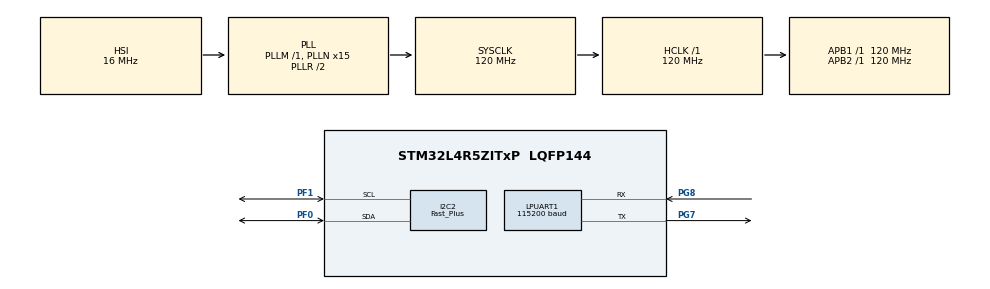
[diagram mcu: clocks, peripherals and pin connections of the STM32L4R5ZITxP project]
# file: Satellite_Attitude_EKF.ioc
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FREERTOS.Tasks01=defaultTask,24,1024,StartDefaultTask,Default,NULL,Dynamic,NULL,NULL
FREERTOS.configTOTAL_HEAP_SIZE=65536
I2C2.I2C_Speed_Mode=I2C_Fast_Plus
I2C2.Timing=0x10820B1B
LPUART1.BaudRate=115200
LPUART1.WordLength=UART_WORDLENGTH_8B
Mcu.Family=STM32L4
Mcu.Name=STM32L4R5ZITxP
Mcu.Package=LQFP144
NVIC.PriorityGroup=NVIC_PRIORITYGROUP_4
NVIC.TIM6_DAC_IRQn=true\:15\:0\:false\:false\:true\:false\:false\:true\:true
NVIC.TimeBase=TIM6_DAC_IRQn
NVIC.TimeBaseIP=TIM6
PA0.Signal=S_TIM2_CH1
PA1.Signal=ADCx_IN6
PA10.Signal=USB_OTG_FS_ID
PA13\ (JTMS/SWDIO).Mode=Serial_Wire
PA13\ (JTMS/SWDIO).Signal=SYS_JTMS-SWDIO
PA14\ (JTCK/SWCLK).Mode=Serial_Wire
PA14\ (JTCK/SWCLK).Signal=SYS_JTCK-SWCLK
PA3.Signal=ADCx_IN8
PA4.Signal=SPI1_NSS
PA5.Signal=SPI1_SCK
PA6.Signal=SPI1_MISO
PA7.Signal=SPI1_MOSI
PA8.Signal=USB_OTG_FS_SOF
PA9.Signal=USB_OTG_FS_VBUS
PB0.Signal=S_TIM3_CH3
PB1.Signal=ADCx_IN16
PB10.Signal=S_TIM2_CH3
PB12.Signal=SAI2_FS_A
PB13.Signal=SAI2_SCK_A
PB14.Signal=S_TIM15_CH1
PB15.Signal=SAI2_SD_A
PB2.Signal=COMP1_INP
PB3\ (JTDO/TRACESWO).Signal=SYS_JTDO-SWO
PB4\ (NJTRST).Signal=SPI3_MISO
PB5.Signal=SPI3_MOSI
PB6.Signal=COMP2_INP
PB8.Signal=I2C1_SCL
PB9.Signal=I2C1_SDA
PC0.Signal=ADCx_IN1
PC1.Signal=ADCx_IN2
PC10.Signal=SDMMC1_D2
PC11.Signal=SDMMC1_D3
PC12.Signal=SDMMC1_CK
PC13.Signal=SYS_WKUP2
PC14-OSC32_IN\ (PC14).Signal=RCC_OSC32_IN
PC15-OSC32_OUT\ (PC15).Signal=RCC_OSC32_OUT
PC2.Signal=ADCx_IN3
PC3.Signal=ADCx_IN4
PC4.Signal=ADCx_IN13
PC5.Signal=ADCx_IN14
PC6.Signal=SAI2_MCLK_A
PC7.Signal=S_TIM3_CH2
PC8.Signal=SDMMC1_D0
PC9.Signal=SDMMC1_D1
PD0.Signal=CAN1_RX
PD14.Signal=S_TIM4_CH3
PD15.Signal=S_TIM4_CH4
PD2.Signal=SDMMC1_CMD
PD3.Signal=USART2_CTS
PD4.Signal=USART2_RTS
PD5.Signal=USART2_TX
PD6.Signal=USART2_RX
PD8.Signal=USART3_TX
PD9.Signal=USART3_RX
PE0.Signal=S_TIM4_ETR
PE10.Signal=TIM1_CH2N
PE11.Signal=S_TIM1_CH2
PE12.Signal=TIM1_CH3N
PE13.Signal=S_TIM1_CH3
PE14.Signal=TIM1_BKIN2
PE15.Signal=TIM1_BKIN
PE2.Signal=SAI1_MCLK_A
PE3.Signal=SAI1_SD_B
PE7.Signal=S_TIM1_ETR
PE8.Signal=TIM1_CH1N
PE9.Signal=S_TIM1_CH1
PF0.Mode=I2C
PF0.Signal=I2C2_SDA
PF1.Mode=I2C
PF1.Signal=I2C2_SCL
PF2.Signal=I2C2_SMBA
PF7.Signal=SAI1_MCLK_B
PG7.Mode=Asynchronous
PG7.Signal=LPUART1_TX
PG8.Mode=Asynchronous
PG8.Signal=LPUART1_RX
PH0-OSC_IN\ (PH0).Mode=HSE-External-Clock-Source
PH0-OSC_IN\ (PH0).Signal=RCC_OSC_IN
PH1-OSC_OUT\ (PH1).Signal=RCC_OSC_OUT
ProjectManager.HeapSize=0x200
ProjectManager.StackSize=0x400
ProjectManager.TargetToolchain=STM32CubeIDE
RCC.ADCFreq_Value=64000000
RCC.AHBFreq_Value=120000000
RCC.APB1Freq_Value=120000000
RCC.APB1TimFreq_Value=120000000
RCC.APB2Freq_Value=120000000
RCC.APB2TimFreq_Value=120000000
RCC.CortexFreq_Value=120000000
RCC.HCLKFreq_Value=120000000
RCC.HSE_VALUE=8000000
RCC.HSI48_VALUE=48000000
RCC.HSI_VALUE=16000000
RCC.LSE_VALUE=32768
RCC.MSI_VALUE=4000000
RCC.PLLN=15
RCC.PLLSourceVirtual=RCC_PLLSOURCE_HSI
RCC.SYSCLKFreq_VALUE=120000000
RCC.SYSCLKSource=RCC_SYSCLKSOURCE_PLLCLK
RCC.USBFreq_Value=64000000
RCC.VCOOutputFreq_Value=240000000
SH.ADCx_IN1.0=ADC1_IN1
SH.ADCx_IN13.0=ADC1_IN13
SH.ADCx_IN14.0=ADC1_IN14
SH.ADCx_IN16.0=ADC1_IN16
SH.ADCx_IN2.0=ADC1_IN2
SH.ADCx_IN3.0=ADC1_IN3
SH.ADCx_IN4.0=ADC1_IN4
SH.ADCx_IN6.0=ADC1_IN6
SH.ADCx_IN8.0=ADC1_IN8
SH.S_TIM15_CH1.0=TIM15_CH1
SH.S_TIM1_CH1.0=TIM1_CH1
SH.S_TIM1_CH2.0=TIM1_CH2
SH.S_TIM1_CH3.0=TIM1_CH3
SH.S_TIM1_ETR.0=TIM1_ETR
SH.S_TIM2_CH1.0=TIM2_CH1
SH.S_TIM2_CH3.0=TIM2_CH3
SH.S_TIM3_CH2.0=TIM3_CH2
SH.S_TIM3_CH3.0=TIM3_CH3
SH.S_TIM4_CH3.0=TIM4_CH3
SH.S_TIM4_CH4.0=TIM4_CH4
SH.S_TIM4_ETR.0=TIM4_ETR
VP_FREERTOS_VS_CMSIS_V2.Mode=CMSIS_V2
VP_SYS_VS_tim6.Mode=TIM6
board=NUCLEO-L4R5ZI-P

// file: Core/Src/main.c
/* USER CODE BEGIN Header */
/**
  ******************************************************************************
  * @file           : main.c
  * @brief          : Main program body
  ******************************************************************************
  * @attention
  *
  * Copyright (c) 2026 STMicroelectronics.
  * All rights reserved.
  *
  * This software is licensed under terms that can be found in the LICENSE file
  * in the r oot directory of this software component.
  * If no LICENSE file comes with this software, it is provided AS-IS.
  *
  ******************************************************************************
  */
/* USER CODE END Header */
#include "main.h"
#include "cmsis_os.h"

/* USER CODE BEGIN Includes */

#include <stdio.h>
#include "arm_math.h"

#include "icm42688.h"
#include "icm42688_stm32.h"
#include "bno055.h"
#include "bno055_stm32.h"
#include "system_init.h"
#include "mag_calib.h"
#include "icm42688_calib.h"

#include "imu_norm.h"
#include "quaternion.h"
#include "imu2quaternion.h"
#include "attitude_kalman_extended.h"
#include "quat2euler.h"
#include "webserial_print.h"

#include "app_rtos.h"

/* USER CODE END Includes */

I2C_HandleTypeDef hi2c2;

UART_HandleTypeDef hlpuart1;

/* Definitions for defaultTask */
osThreadId_t defaultTaskHandle;
const osThreadAttr_t defaultTask_attributes = {
  .name = "defaultTask",
  .stack_size = 1024 * 4,
  .priority = (osPriority_t) osPriorityNormal,
};

void SystemClock_Config(void);
static void MX_GPIO_Init(void);
static void MX_I2C2_Init(void);
static void MX_LPUART1_UART_Init(void);
void StartDefaultTask(void *argument);

/* USER CODE BEGIN PFP */

void print_imu_data(imu_norm *imu);

/* USER CODE END PFP */

int main(void)
{

  /* MCU Configuration--------------------------------------------------------*/

  /* Reset of all peripherals, Initializes the Flash interface and the Systick. */
  HAL_Init();

  /* Configure the system clock */
  SystemClock_Config();

  /* Initialize all configured peripherals */
  MX_GPIO_Init();
  MX_I2C2_Init();
  MX_LPUART1_UART_Init();
  /* USER CODE BEGIN 2 */

  if (system_sensors_init(&hi2c2) != SYS_INIT_OK)
  {
      Error_Handler();
  }

  /* USER CODE END 2 */

  /* Init scheduler */
  osKernelInitialize();

  /* Create the thread(s) */
  /* creation of defaultTask */
  defaultTaskHandle = osThreadNew(StartDefaultTask, NULL, &defaultTask_attributes);

  /* Start scheduler */
  osKernelStart();

  /* We should never get here as control is now taken by the scheduler */

  /* Infinite loop */
  while (1)
  {

  }
}

void SystemClock_Config(void)
{
  RCC_OscInitTypeDef RCC_OscInitStruct = {0};
  RCC_ClkInitTypeDef RCC_ClkInitStruct = {0};

  /** Configure the main internal regulator output voltage
  */
  if (HAL_PWREx_ControlVoltageScaling(PWR_REGULATOR_VOLTAGE_SCALE1_BOOST) != HAL_OK)
  {
    Error_Handler();
  }

  /** Initializes the RCC Oscillators according to the specified parameters
  * in the RCC_OscInitTypeDef structure.
  */
  RCC_OscInitStruct.OscillatorType = RCC_OSCILLATORTYPE_HSI;
  RCC_OscInitStruct.HSIState = RCC_HSI_ON;
  RCC_OscInitStruct.HSICalibrationValue = RCC_HSICALIBRATION_DEFAULT;
  RCC_OscInitStruct.PLL.PLLState = RCC_PLL_ON;
  RCC_OscInitStruct.PLL.PLLSource = RCC_PLLSOURCE_HSI;
  RCC_OscInitStruct.PLL.PLLM = 1;
  RCC_OscInitStruct.PLL.PLLN = 15;
  RCC_OscInitStruct.PLL.PLLP = RCC_PLLP_DIV2;
  RCC_OscInitStruct.PLL.PLLQ = RCC_PLLQ_DIV2;
  RCC_OscInitStruct.PLL.PLLR = RCC_PLLR_DIV2;
  if (HAL_RCC_OscConfig(&RCC_OscInitStruct) != HAL_OK)
  {
    Error_Handler();
  }

  /** Initializes the CPU, AHB and APB buses clocks
  */
  RCC_ClkInitStruct.ClockType = RCC_CLOCKTYPE_HCLK|RCC_CLOCKTYPE_SYSCLK
                              |RCC_CLOCKTYPE_PCLK1|RCC_CLOCKTYPE_PCLK2;
  RCC_ClkInitStruct.SYSCLKSource = RCC_SYSCLKSOURCE_PLLCLK;
  RCC_ClkInitStruct.AHBCLKDivider = RCC_SYSCLK_DIV1;
  RCC_ClkInitStruct.APB1CLKDivider = RCC_HCLK_DIV1;
  RCC_ClkInitStruct.APB2CLKDivider = RCC_HCLK_DIV1;

  if (HAL_RCC_ClockConfig(&RCC_ClkInitStruct, FLASH_LATENCY_5) != HAL_OK)
  {
    Error_Handler();
  }
}

static void MX_I2C2_Init(void)
{

  hi2c2.Instance = I2C2;
  hi2c2.Init.Timing = 0x10820B1B;
  hi2c2.Init.OwnAddress1 = 0;
  hi2c2.Init.AddressingMode = I2C_ADDRESSINGMODE_7BIT;
  hi2c2.Init.DualAddressMode = I2C_DUALADDRESS_DISABLE;
  hi2c2.Init.OwnAddress2 = 0;
  hi2c2.Init.OwnAddress2Masks = I2C_OA2_NOMASK;
  hi2c2.Init.GeneralCallMode = I2C_GENERALCALL_DISABLE;
  hi2c2.Init.NoStretchMode = I2C_NOSTRETCH_DISABLE;
  if (HAL_I2C_Init(&hi2c2) != HAL_OK)
  {
    Error_Handler();
  }

  /** Configure Analogue filter
  */
  if (HAL_I2CEx_ConfigAnalogFilter(&hi2c2, I2C_ANALOGFILTER_ENABLE) != HAL_OK)
  {
    Error_Handler();
  }

  /** Configure Digital filter
  */
  if (HAL_I2CEx_ConfigDigitalFilter(&hi2c2, 0) != HAL_OK)
  {
    Error_Handler();
  }

  /** I2C Fast mode Plus enable
  */
  HAL_I2CEx_EnableFastModePlus(I2C_FASTMODEPLUS_I2C2);

}

static void MX_LPUART1_UART_Init(void)
{

  hlpuart1.Instance = LPUART1;
  hlpuart1.Init.BaudRate = 115200;
  hlpuart1.Init.WordLength = UART_WORDLENGTH_8B;
  hlpuart1.Init.StopBits = UART_STOPBITS_1;
  hlpuart1.Init.Parity = UART_PARITY_NONE;
  hlpuart1.Init.Mode = UART_MODE_TX_RX;
  hlpuart1.Init.HwFlowCtl = UART_HWCONTROL_NONE;
  hlpuart1.Init.OneBitSampling = UART_ONE_BIT_SAMPLE_DISABLE;
  hlpuart1.Init.ClockPrescaler = UART_PRESCALER_DIV1;
  hlpuart1.AdvancedInit.AdvFeatureInit = UART_ADVFEATURE_NO_INIT;
  hlpuart1.FifoMode = UART_FIFOMODE_DISABLE;
  if (HAL_UART_Init(&hlpuart1) != HAL_OK)
  {
    Error_Handler();
  }
  if (HAL_UARTEx_SetTxFifoThreshold(&hlpuart1, UART_TXFIFO_THRESHOLD_1_8) != HAL_OK)
  {
    Error_Handler();
  }
  if (HAL_UARTEx_SetRxFifoThreshold(&hlpuart1, UART_RXFIFO_THRESHOLD_1_8) != HAL_OK)
  {
    Error_Handler();
  }
  if (HAL_UARTEx_DisableFifoMode(&hlpuart1) != HAL_OK)
  {
    Error_Handler();
  }

}

static void MX_GPIO_Init(void)
{
  GPIO_InitTypeDef GPIO_InitStruct = {0};

  /* GPIO Ports Clock Enable */
  __HAL_RCC_GPIOE_CLK_ENABLE();
  __HAL_RCC_GPIOC_CLK_ENABLE();
  __HAL_RCC_GPIOF_CLK_ENABLE();
  __HAL_RCC_GPIOH_CLK_ENABLE();
  __HAL_RCC_GPIOA_CLK_ENABLE();
  __HAL_RCC_GPIOB_CLK_ENABLE();
  __HAL_RCC_GPIOD_CLK_ENABLE();
  __HAL_RCC_GPIOG_CLK_ENABLE();
  HAL_PWREx_EnableVddIO2();

  /*Configure GPIO pins : PE2 PE3 */
  GPIO_InitStruct.Pin = GPIO_PIN_2|GPIO_PIN_3;
  GPIO_InitStruct.Mode = GPIO_MODE_AF_PP;
  GPIO_InitStruct.Pull = GPIO_NOPULL;
  GPIO_InitStruct.Speed = GPIO_SPEED_FREQ_LOW;
  GPIO_InitStruct.Alternate = GPIO_AF13_SAI1;
  HAL_GPIO_Init(GPIOE, &GPIO_InitStruct);

  /*Configure GPIO pin : PF7 */
  GPIO_InitStruct.Pin = GPIO_PIN_7;
  GPIO_InitStruct.Mode = GPIO_MODE_AF_PP;
  GPIO_InitStruct.Pull = GPIO_NOPULL;
  GPIO_InitStruct.Speed = GPIO_SPEED_FREQ_LOW;
  GPIO_InitStruct.Alternate = GPIO_AF13_SAI1;
  HAL_GPIO_Init(GPIOF, &GPIO_InitStruct);

  /*Configure GPIO pins : PC0 PC1 PC2 PC3
                           PC4 PC5 */
  GPIO_InitStruct.Pin = GPIO_PIN_0|GPIO_PIN_1|GPIO_PIN_2|GPIO_PIN_3
                          |GPIO_PIN_4|GPIO_PIN_5;
  GPIO_InitStruct.Mode = GPIO_MODE_ANALOG_ADC_CONTROL;
  GPIO_InitStruct.Pull = GPIO_NOPULL;
  HAL_GPIO_Init(GPIOC, &GPIO_InitStruct);

  /*Configure GPIO pin : PA0 */
  GPIO_InitStruct.Pin = GPIO_PIN_0;
  GPIO_InitStruct.Mode = GPIO_MODE_AF_PP;
  GPIO_InitStruct.Pull = GPIO_NOPULL;
  GPIO_InitStruct.Speed = GPIO_SPEED_FREQ_LOW;
  GPIO_InitStruct.Alternate = GPIO_AF1_TIM2;
  HAL_GPIO_Init(GPIOA, &GPIO_InitStruct);

  /*Configure GPIO pins : PA1 PA3 */
  GPIO_InitStruct.Pin = GPIO_PIN_1|GPIO_PIN_3;
  GPIO_InitStruct.Mode = GPIO_MODE_ANALOG_ADC_CONTROL;
  GPIO_InitStruct.Pull = GPIO_NOPULL;
  HAL_GPIO_Init(GPIOA, &GPIO_InitStruct);

  /*Configure GPIO pins : PA4 PA5 PA6 PA7 */
  GPIO_InitStruct.Pin = GPIO_PIN_4|GPIO_PIN_5|GPIO_PIN_6|GPIO_PIN_7;
  GPIO_InitStruct.Mode = GPIO_MODE_AF_PP;
  GPIO_InitStruct.Pull = GPIO_NOPULL;
  GPIO_InitStruct.Speed = GPIO_SPEED_FREQ_VERY_HIGH;
  GPIO_InitStruct.Alternate = GPIO_AF5_SPI1;
  HAL_GPIO_Init(GPIOA, &GPIO_InitStruct);

  /*Configure GPIO pin : PB0 */
  GPIO_InitStruct.Pin = GPIO_PIN_0;
  GPIO_InitStruct.Mode = GPIO_MODE_AF_PP;
  GPIO_InitStruct.Pull = GPIO_NOPULL;
  GPIO_InitStruct.Speed = GPIO_SPEED_FREQ_LOW;
  GPIO_InitStruct.Alternate = GPIO_AF2_TIM3;
  HAL_GPIO_Init(GPIOB, &GPIO_InitStruct);

  /*Configure GPIO pin : PB1 */
  GPIO_InitStruct.Pin = GPIO_PIN_1;
  GPIO_InitStruct.Mode = GPIO_MODE_ANALOG_ADC_CONTROL;
  GPIO_InitStruct.Pull = GPIO_NOPULL;
  HAL_GPIO_Init(GPIOB, &GPIO_InitStruct);

  /*Configure GPIO pins : PB2 PB6 */
  GPIO_InitStruct.Pin = GPIO_PIN_2|GPIO_PIN_6;
  GPIO_InitStruct.Mode = GPIO_MODE_ANALOG;
  GPIO_InitStruct.Pull = GPIO_NOPULL;
  HAL_GPIO_Init(GPIOB, &GPIO_InitStruct);

  /*Configure GPIO pins : PE7 PE8 PE9 PE10
                           PE11 PE12 PE13 */
  GPIO_InitStruct.Pin = GPIO_PIN_7|GPIO_PIN_8|GPIO_PIN_9|GPIO_PIN_10
                          |GPIO_PIN_11|GPIO_PIN_12|GPIO_PIN_13;
  GPIO_InitStruct.Mode = GPIO_MODE_AF_PP;
  GPIO_InitStruct.Pull = GPIO_NOPULL;
  GPIO_InitStruct.Speed = GPIO_SPEED_FREQ_LOW;
  GPIO_InitStruct.Alternate = GPIO_AF1_TIM1;
  HAL_GPIO_Init(GPIOE, &GPIO_InitStruct);

  /*Configure GPIO pins : PE14 PE15 */
  GPIO_InitStruct.Pin = GPIO_PIN_14|GPIO_PIN_15;
  GPIO_InitStruct.Mode = GPIO_MODE_AF_PP;
  GPIO_InitStruct.Pull = GPIO_NOPULL;
  GPIO_InitStruct.Speed = GPIO_SPEED_FREQ_LOW;
  GPIO_InitStruct.Alternate = GPIO_AF3_TIM1_COMP1;
  HAL_GPIO_Init(GPIOE, &GPIO_InitStruct);

  /*Configure GPIO pin : PB10 */
  GPIO_InitStruct.Pin = GPIO_PIN_10;
  GPIO_InitStruct.Mode = GPIO_MODE_AF_PP;
  GPIO_InitStruct.Pull = GPIO_NOPULL;
  GPIO_InitStruct.Speed = GPIO_SPEED_FREQ_LOW;
  GPIO_InitStruct.Alternate = GPIO_AF1_TIM2;
  HAL_GPIO_Init(GPIOB, &GPIO_InitStruct);

  /*Configure GPIO pins : PB12 PB13 PB15 */
  GPIO_InitStruct.Pin = GPIO_PIN_12|GPIO_PIN_13|GPIO_PIN_15;
  GPIO_InitStruct.Mode = GPIO_MODE_AF_PP;
  GPIO_InitStruct.Pull = GPIO_NOPULL;
  GPIO_InitStruct.Speed = GPIO_SPEED_FREQ_LOW;
  GPIO_InitStruct.Alternate = GPIO_AF13_SAI2;
  HAL_GPIO_Init(GPIOB, &GPIO_InitStruct);

  /*Configure GPIO pin : PB14 */
  GPIO_InitStruct.Pin = GPIO_PIN_14;
  GPIO_InitStruct.Mode = GPIO_MODE_AF_PP;
  GPIO_InitStruct.Pull = GPIO_NOPULL;
  GPIO_InitStruct.Speed = GPIO_SPEED_FREQ_LOW;
  GPIO_InitStruct.Alternate = GPIO_AF14_TIM15;
  HAL_GPIO_Init(GPIOB, &GPIO_InitStruct);

  /*Configure GPIO pins : PD8 PD9 */
  GPIO_InitStruct.Pin = GPIO_PIN_8|GPIO_PIN_9;
  GPIO_InitStruct.Mode = GPIO_MODE_AF_PP;
  GPIO_InitStruct.Pull = GPIO_NOPULL;
  GPIO_InitStruct.Speed = GPIO_SPEED_FREQ_VERY_HIGH;
  GPIO_InitStruct.Alternate = GPIO_AF7_USART3;
  HAL_GPIO_Init(GPIOD, &GPIO_InitStruct);

  /*Configure GPIO pins : PD14 PD15 */
  GPIO_InitStruct.Pin = GPIO_PIN_14|GPIO_PIN_15;
  GPIO_InitStruct.Mode = GPIO_MODE_AF_PP;
  GPIO_InitStruct.Pull = GPIO_NOPULL;
  GPIO_InitStruct.Speed = GPIO_SPEED_FREQ_LOW;
  GPIO_InitStruct.Alternate = GPIO_AF2_TIM4;
  HAL_GPIO_Init(GPIOD, &GPIO_InitStruct);

  /*Configure GPIO pin : PC6 */
  GPIO_InitStruct.Pin = GPIO_PIN_6;
  GPIO_InitStruct.Mode = GPIO_MODE_AF_PP;
  GPIO_InitStruct.Pull = GPIO_NOPULL;
  GPIO_InitStruct.Speed = GPIO_SPEED_FREQ_LOW;
  GPIO_InitStruct.Alternate = GPIO_AF13_SAI2;
  HAL_GPIO_Init(GPIOC, &GPIO_InitStruct);

  /*Configure GPIO pin : PC7 */
  GPIO_InitStruct.Pin = GPIO_PIN_7;
  GPIO_InitStruct.Mode = GPIO_MODE_AF_PP;
  GPIO_InitStruct.Pull = GPIO_NOPULL;
  GPIO_InitStruct.Speed = GPIO_SPEED_FREQ_LOW;
  GPIO_InitStruct.Alternate = GPIO_AF2_TIM3;
  HAL_GPIO_Init(GPIOC, &GPIO_InitStruct);

  /*Configure GPIO pins : PC8 PC9 PC10 PC11
                           PC12 */
  GPIO_InitStruct.Pin = GPIO_PIN_8|GPIO_PIN_9|GPIO_PIN_10|GPIO_PIN_11
                          |GPIO_PIN_12;
  GPIO_InitStruct.Mode = GPIO_MODE_AF_PP;
  GPIO_InitStruct.Pull = GPIO_NOPULL;
  GPIO_InitStruct.Speed = GPIO_SPEED_FREQ_VERY_HIGH;
  GPIO_InitStruct.Alternate = GPIO_AF12_SDMMC1;
  HAL_GPIO_Init(GPIOC, &GPIO_InitStruct);

  /*Configure GPIO pins : PA8 PA10 */
  GPIO_InitStruct.Pin = GPIO_PIN_8|GPIO_PIN_10;
  GPIO_InitStruct.Mode = GPIO_MODE_AF_PP;
  GPIO_InitStruct.Pull = GPIO_NOPULL;
  GPIO_InitStruct.Speed = GPIO_SPEED_FREQ_VERY_HIGH;
  GPIO_InitStruct.Alternate = GPIO_AF10_OTG_FS;
  HAL_GPIO_Init(GPIOA, &GPIO_InitStruct);

  /*Configure GPIO pin : PA9 */
  GPIO_InitStruct.Pin = GPIO_PIN_9;
  GPIO_InitStruct.Mode = GPIO_MODE_INPUT;
  GPIO_InitStruct.Pull = GPIO_NOPULL;
  HAL_GPIO_Init(GPIOA, &GPIO_InitStruct);

  /*Configure GPIO pin : PD0 */
  GPIO_InitStruct.Pin = GPIO_PIN_0;
  GPIO_InitStruct.Mode = GPIO_MODE_AF_PP;
  GPIO_InitStruct.Pull = GPIO_NOPULL;
  GPIO_InitStruct.Speed = GPIO_SPEED_FREQ_VERY_HIGH;
  GPIO_InitStruct.Alternate = GPIO_AF9_CAN1;
  HAL_GPIO_Init(GPIOD, &GPIO_InitStruct);

  /*Configure GPIO pin : PD2 */
  GPIO_InitStruct.Pin = GPIO_PIN_2;
  GPIO_InitStruct.Mode = GPIO_MODE_AF_PP;
  GPIO_InitStruct.Pull = GPIO_NOPULL;
  GPIO_InitStruct.Speed = GPIO_SPEED_FREQ_VERY_HIGH;
  GPIO_InitStruct.Alternate = GPIO_AF12_SDMMC1;
  HAL_GPIO_Init(GPIOD, &GPIO_InitStruct);

  /*Configure GPIO pins : PD3 PD4 PD5 PD6 */
  GPIO_InitStruct.Pin = GPIO_PIN_3|GPIO_PIN_4|GPIO_PIN_5|GPIO_PIN_6;
  GPIO_InitStruct.Mode = GPIO_MODE_AF_PP;
  GPIO_InitStruct.Pull = GPIO_NOPULL;
  GPIO_InitStruct.Speed = GPIO_SPEED_FREQ_VERY_HIGH;
  GPIO_InitStruct.Alternate = GPIO_AF7_USART2;
  HAL_GPIO_Init(GPIOD, &GPIO_InitStruct);

  /*Configure GPIO pins : PB4 PB5 */
  GPIO_InitStruct.Pin = GPIO_PIN_4|GPIO_PIN_5;
  GPIO_InitStruct.Mode = GPIO_MODE_AF_PP;
  GPIO_InitStruct.Pull = GPIO_NOPULL;
  GPIO_InitStruct.Speed = GPIO_SPEED_FREQ_VERY_HIGH;
  GPIO_InitStruct.Alternate = GPIO_AF6_SPI3;
  HAL_GPIO_Init(GPIOB, &GPIO_InitStruct);

  /*Configure GPIO pins : PB8 PB9 */
  GPIO_InitStruct.Pin = GPIO_PIN_8|GPIO_PIN_9;
  GPIO_InitStruct.Mode = GPIO_MODE_AF_OD;
  GPIO_InitStruct.Pull = GPIO_NOPULL;
  GPIO_InitStruct.Speed = GPIO_SPEED_FREQ_VERY_HIGH;
  GPIO_InitStruct.Alternate = GPIO_AF4_I2C1;
  HAL_GPIO_Init(GPIOB, &GPIO_InitStruct);

  /*Configure GPIO pin : PE0 */
  GPIO_InitStruct.Pin = GPIO_PIN_0;
  GPIO_InitStruct.Mode = GPIO_MODE_AF_PP;
  GPIO_InitStruct.Pull = GPIO_NOPULL;
  GPIO_InitStruct.Speed = GPIO_SPEED_FREQ_LOW;
  GPIO_InitStruct.Alternate = GPIO_AF2_TIM4;
  HAL_GPIO_Init(GPIOE, &GPIO_InitStruct);

}

/* USER CODE BEGIN 4 */

void print_raw_data(icm42688_data *raw, float mx, float my, float mz)
{
    printf("[RAW] AX: %6d  AY: %6d  AZ: %6d\r\n", raw->x_accel, raw->y_accel, raw->z_accel);
    printf("[RAW] GX: %6d  GY: %6d  GZ: %6d\r\n", raw->x_gyro, raw->y_gyro, raw->z_gyro);
    printf("[RAW] MX: %.1f  MY: %.1f  MZ: %.1f\r\n", mx, my, mz);
}

// === WEB SERIAL === //
int _write(int file, char *ptr, int len)
{
    HAL_UART_Transmit(
        &hlpuart1,
        (uint8_t *)ptr,
        len,
        HAL_MAX_DELAY);

    return len;
}

//// === SWV Debugging ===
//int _write(int file, char *ptr, int len)
//{
//    for(int i = 0; i < len; i++)
//    {
//        ITM_SendChar((*ptr++));
//    }
//    return len;
//}

/* USER CODE END 4 */

void StartDefaultTask(void *argument)
{
  /* USER CODE BEGIN 5 */
  /* Infinite loop */
	  app_rtos_init();
	  osThreadExit();

  /* USER CODE END 5 */
}

void HAL_TIM_PeriodElapsedCallback(TIM_HandleTypeDef *htim)
{
  if (htim->Instance == TIM6)
  {
    HAL_IncTick();
  }
}

void Error_Handler(void)
{
  __disable_irq();
  while (1)
  {
  }
}
